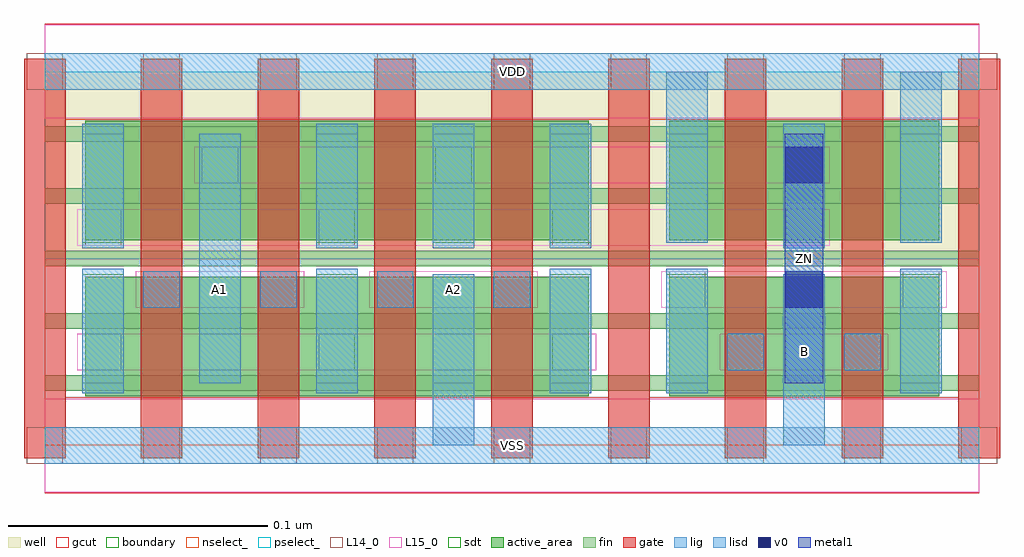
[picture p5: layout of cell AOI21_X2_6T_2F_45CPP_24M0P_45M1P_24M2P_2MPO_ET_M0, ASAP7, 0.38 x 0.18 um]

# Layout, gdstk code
import gdstk
lib = gdstk.Library(unit=1e-6, precision=2.5e-10)
def R(c, l, rs):  # rectangles x0, y0, x1, y1
    for r in rs: c.add(gdstk.rectangle(r[:2], r[2:], *l))
def A(c, l, x, y, w, h, nx, ny, dx, dy):  # array of equal rectangles
    R(c, l, [(x+i*dx, y+j*dy, x+i*dx+w, y+j*dy+h) for i in range(nx) for j in range(ny)])
well = (1, 0)
fin = (2, 0)
gate = (7, 0)
gcut = (10, 0)
active_area = (11, 0)
nselect_ = (12, 0)
pselect_ = (13, 0)
L14_0 = (14, 0)
L15_0 = (15, 0)
lig = (16, 0)
lisd = (17, 0)
v0 = (18, 0)
metal1 = (19, 0)
sdt = (88, 0)
boundary = (100, 0)

aoi21_x2_6t_2f_45cpp_24m = lib.new_cell('AOI21_X2_6T_2F_45CPP_24M0P_45M1P_24M2P_2MPO_ET_M0')
R(aoi21_x2_6t_2f_45cpp_24m, well, [(0,0.072,0.36,0.144)])
A(aoi21_x2_6t_2f_45cpp_24m, fin, 0, 0.021, 0.36, 0.006, 1, 5, 0, 0.024)
A(aoi21_x2_6t_2f_45cpp_24m, gate, -0.008, -0.005, 0.016, 0.154, 9, 1, 0.045, 0)
R(aoi21_x2_6t_2f_45cpp_24m, gcut, [(0,-0.0185,0.36,0.0185), (-0.008,-0.005,0.008,0.149), (0.217,-0.005,0.233,0.149), (0.352,-0.005,0.368,0.149), (0,0.1255,0.36,0.1625)])
A(aoi21_x2_6t_2f_45cpp_24m, active_area, 0.0155, 0.019, 0.059, 0.046, 4, 2, 0.045, 0.06)
R(aoi21_x2_6t_2f_45cpp_24m, active_area, [(0.2405,0.019,0.2995,0.065), (0.2855,0.019,0.3445,0.065), (0.2405,0.079,0.2995,0.125), (0.2855,0.079,0.3445,0.125)])
R(aoi21_x2_6t_2f_45cpp_24m, nselect_, [(0,0,0.36,0.072)])
R(aoi21_x2_6t_2f_45cpp_24m, pselect_, [(0,0.072,0.36,0.144)])
A(aoi21_x2_6t_2f_45cpp_24m, L14_0, -0.007, -0.007, 0.014, 0.014, 9, 2, 0.045, 0.144)
A(aoi21_x2_6t_2f_45cpp_24m, L14_0, 0.0155, 0.029, 0.014, 0.014, 3, 1, 0.09, 0)
A(aoi21_x2_6t_2f_45cpp_24m, L14_0, 0.038, 0.053, 0.014, 0.014, 4, 1, 0.045, 0)
A(aoi21_x2_6t_2f_45cpp_24m, L14_0, 0.0155, 0.077, 0.014, 0.014, 4, 1, 0.09, 0)
R(aoi21_x2_6t_2f_45cpp_24m, L14_0, [(0.263,0.029,0.277,0.043), (0.308,0.029,0.322,0.043), (0.2405,0.053,0.2545,0.067), (0.3305,0.053,0.3445,0.067), (0.0605,0.101,0.0745,0.115), (0.1505,0.101,0.1645,0.115)])
R(aoi21_x2_6t_2f_45cpp_24m, L15_0, [(0,-0.018,0.36,0.018), (0.0125,0.029,0.2125,0.043), (0.26,0.029,0.325,0.043), (0.035,0.053,0.1,0.067), (0.125,0.053,0.19,0.067), (0.2375,0.053,0.3475,0.067), (0.0125,0.077,0.3025,0.091), (0.0575,0.101,0.3025,0.115), (0,0.126,0.36,0.162)])
A(aoi21_x2_6t_2f_45cpp_24m, lig, 0.038, 0.053, 0.014, 0.014, 4, 1, 0.045, 0)
R(aoi21_x2_6t_2f_45cpp_24m, lig, [(0,-0.007,0.36,0.007), (0.263,0.029,0.277,0.043), (0.308,0.029,0.322,0.043), (0,0.137,0.36,0.151)])
A(aoi21_x2_6t_2f_45cpp_24m, lisd, 0.0145, 0.02, 0.016, 0.048, 3, 1, 0.09, 0)
A(aoi21_x2_6t_2f_45cpp_24m, lisd, 0.1045, 0.076, 0.016, 0.048, 3, 1, 0.045, 0)
R(aoi21_x2_6t_2f_45cpp_24m, lisd, [(0.1495,0,0.1655,0.066), (0.2845,0,0.3005,0.066), (0.2395,0.02,0.2555,0.068), (0.3295,0.02,0.3455,0.068), (0.0595,0.024,0.0755,0.12), (0.0145,0.076,0.0305,0.124), (0.2845,0.076,0.3005,0.124), (0.2395,0.078,0.2555,0.144), (0.3295,0.078,0.3455,0.144)])
R(aoi21_x2_6t_2f_45cpp_24m, v0, [(0.2855,0.053,0.2995,0.067), (0.2855,0.101,0.2995,0.115)])
R(aoi21_x2_6t_2f_45cpp_24m, metal1, [(0.285,0.024,0.3,0.12)])
A(aoi21_x2_6t_2f_45cpp_24m, sdt, 0.1045, 0.024, 0.016, 0.042, 6, 2, 0.045, 0.054)
R(aoi21_x2_6t_2f_45cpp_24m, sdt, [(0.0145,0.024,0.0305,0.066), (0.0595,0.024,0.0755,0.12), (0.0145,0.078,0.0305,0.12)])
R(aoi21_x2_6t_2f_45cpp_24m, boundary, [(0,0,0.36,0.144)])
aoi21_x2_6t_2f_45cpp_24m.add(gdstk.Label('A1', (0.0675,0.06), layer=15, texttype=251))
aoi21_x2_6t_2f_45cpp_24m.add(gdstk.Label('A2', (0.1575,0.06), layer=15, texttype=251))
aoi21_x2_6t_2f_45cpp_24m.add(gdstk.Label('B', (0.2925,0.036), layer=15, texttype=251))
aoi21_x2_6t_2f_45cpp_24m.add(gdstk.Label('VDD', (0.18,0.144), layer=15, texttype=251))
aoi21_x2_6t_2f_45cpp_24m.add(gdstk.Label('VSS', (0.18,0), layer=15, texttype=251))
aoi21_x2_6t_2f_45cpp_24m.add(gdstk.Label('VDD', (0.18,0.144), layer=1, texttype=251))
aoi21_x2_6t_2f_45cpp_24m.add(gdstk.Label('VSS', (0.18,0), layer=3, texttype=251))
aoi21_x2_6t_2f_45cpp_24m.add(gdstk.Label('ZN', (0.2925,0.072), layer=19, texttype=251))

lib.write_gds('AOI21_X2_6T_2F_45CPP_24M0P_45M1P_24M2P_2MPO_ET_M0.gds')
